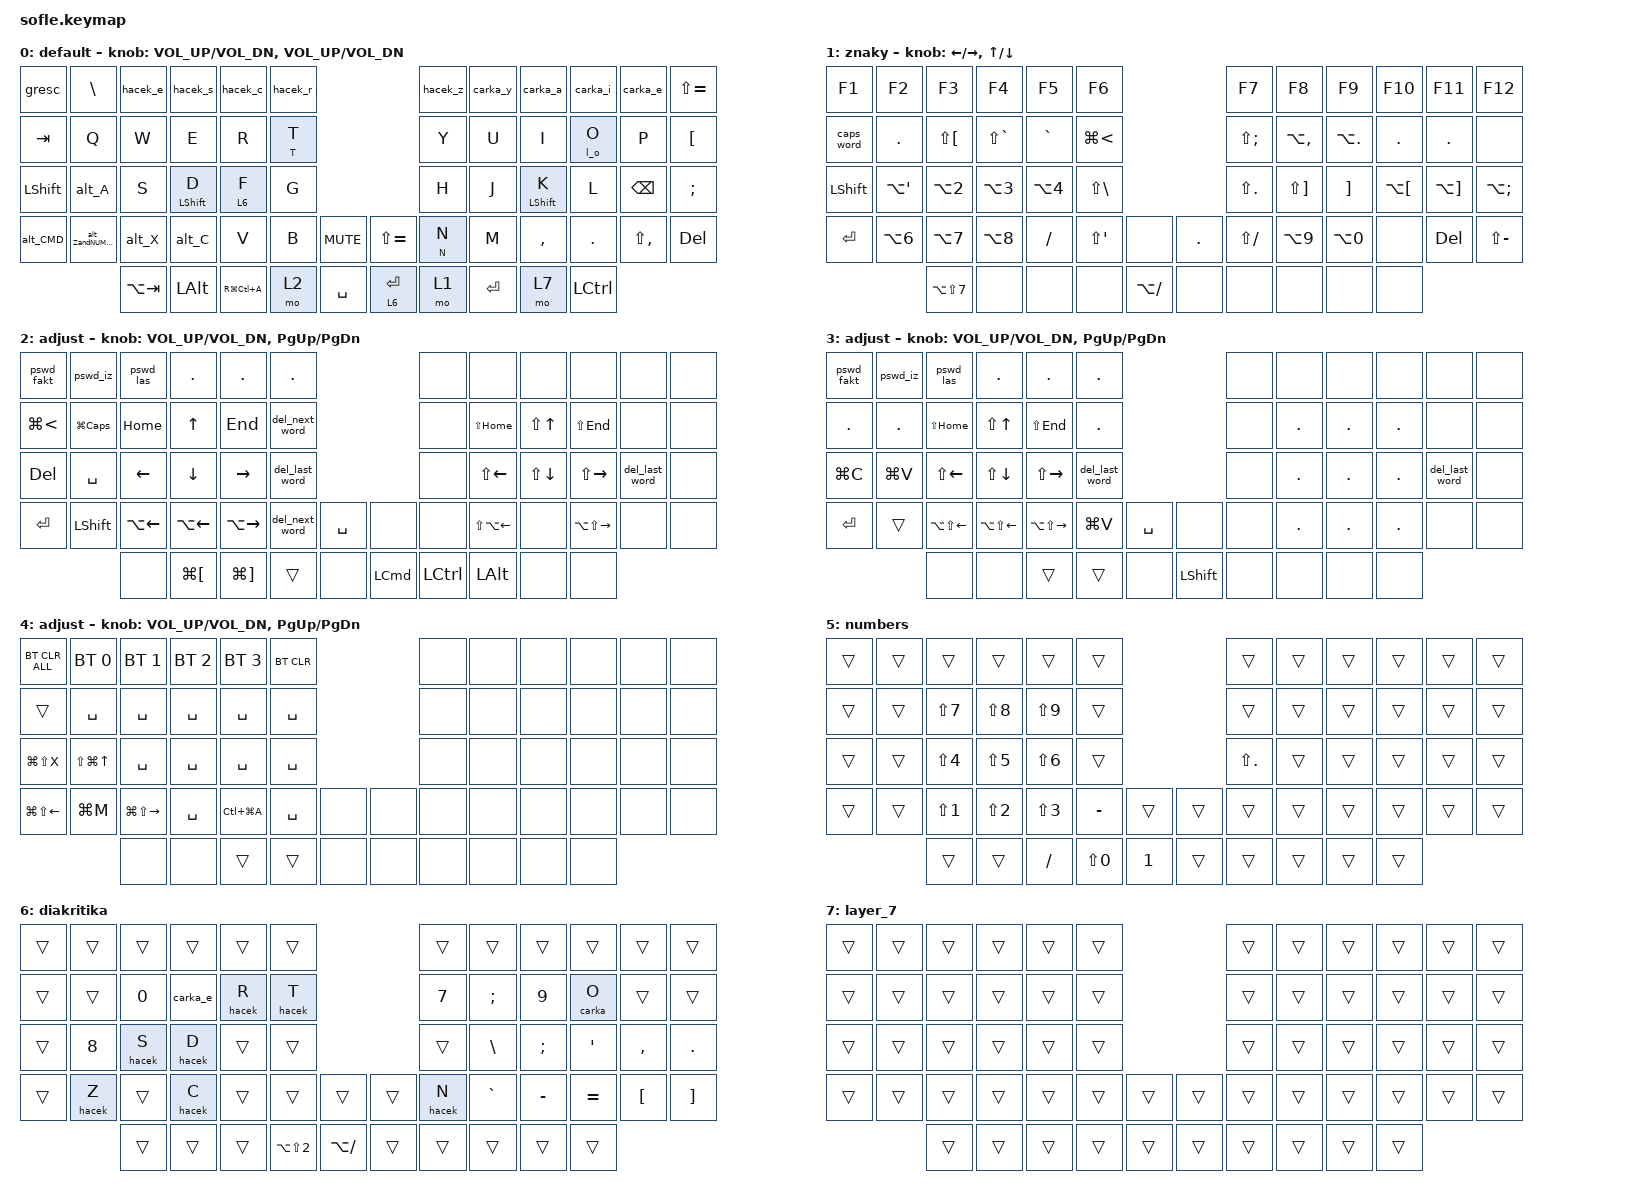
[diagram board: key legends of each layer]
/*
 * Copyright (c) 2020 The ZMK Contributors
 *
 * SPDX-License-Identifier: MIT
 */

#include <behaviors.dtsi>
#include <dt-bindings/zmk/bt.h>
#include <dt-bindings/zmk/keys.h>

/*
// Encoders

&sensors { triggers-per-rotation = <30>; };

&left_encoder { steps = <60>; };

&right_encoder { steps = <60>; };
*/

#define BASE 0
#define LOWER 1
#define RAISE 2
#define ADJUST 3
#define EXTRA 4

/ {
    conditional_layers { compatible = "zmk,conditional-layers"; };

    combos {
        compatible = "zmk,combos";

        gdoc_tab {
            bindings = <&kp LG(RIGHT_BRACKET)>;
            key-positions = <40 41>;
        };

        gdoc_backtab {
            bindings = <&kp LG(LEFT_BRACKET)>;
            key-positions = <40 39>;
        };

        shift_tab2 {
            bindings = <&kp LS(TAB)>;
            key-positions = <27 26>;
        };

        carka_a {
            bindings = <&carka_a>;
            key-positions = <25 31>;
        };

        carka_i {
            bindings = <&carka_i>;
            key-positions = <28 20>;
        };

        hacek_e {
            bindings = <&hacek_e>;
            key-positions = <15 28>;
        };

        carka_y {
            bindings = <&carka_y>;
            key-positions = <28 18>;
        };

        hacek_z {
            bindings = <&hacek_z>;
            key-positions = <31 37>;
        };

        hacek_r {
            bindings = <&hacek_r>;
            key-positions = <31 16>;
        };

        hacek_c {
            bindings = <&hacek_c>;
            key-positions = <38 31>;
        };

        hacek_s {
            bindings = <&hacek_c>;
            key-positions = <39 31>;
        };

        hacek_t {
            bindings = <&hacek T>;
            key-positions = <31 17>;
        };

        hacek_n {
            bindings = <&hacek N>;
            key-positions = <28 44>;
        };
    };

    behaviors {
        kp_kp_r: kp_kp_r {
            compatible = "zmk,behavior-hold-tap";
            label = "KP_KP_R";
            bindings = <&kp>, <&kp>;

            #binding-cells = <2>;
            tapping-term-ms = <280>;
            quick-tap-ms = <175>;
            flavor = "balanced";
            hold-trigger-key-positions = <0 1 2 3 4 5 12 13 14 15 16 17 24 25 26 27 28 29 36 37 38 39 40 41 42 50 51 52 53 54 55 56 57>;
            hold-trigger-on-release;
        };

        kp_kp_l: kp_kp_l {
            compatible = "zmk,behavior-hold-tap";
            label = "KP_KP_L";
            bindings = <&kp>, <&kp>;

            #binding-cells = <2>;
            hold-trigger-key-positions = <6 7 8 9 10 11 18 19 20 21 22 23 30 31 32 33 34 35 43 44 45 46 47 48 49 55 56 57 58 59 54 53 52>;
            tapping-term-ms = <280>;
            quick-tap-ms = <175>;
            hold-trigger-on-release;
            flavor = "balanced";
        };

        mo_kp_l: mo_kp_l {
            compatible = "zmk,behavior-hold-tap";
            label = "MO_KP_L";
            bindings = <&mo>, <&kp>;

            #binding-cells = <2>;
            hold-trigger-key-positions = <6 7 8 9 10 11 18 19 20 21 22 23 30 31 32 33 34 35 43 44 45 46 47 48 49 55 56 57 58 59 54 53 52>;
            tapping-term-ms = <200>;
            hold-trigger-on-release;
            flavor = "balanced";
        };

        for_t: for_t {
            compatible = "zmk,behavior-hold-tap";
            label = "FOR_T";
            bindings = <&hacek>, <&kp>;

            #binding-cells = <2>;
            tapping-term-ms = <400>;
            hold-trigger-on-release;
            flavor = "tap-preferred";
        };

        for_o: for_o {
            compatible = "zmk,behavior-hold-tap";
            label = "FOR_O";
            bindings = <&l_o>, <&kp>;

            #binding-cells = <2>;
            tapping-term-ms = <400>;
            hold-trigger-on-release;
            flavor = "tap-preferred";
        };

        for_n: for_n {
            compatible = "zmk,behavior-hold-tap";
            label = "FOR_N";
            bindings = <&hacek>, <&kp>;

            #binding-cells = <2>;
            tapping-term-ms = <400>;
            hold-trigger-on-release;
            flavor = "tap-preferred";
        };

        alt_ZandNUMLOCK: alt_ZandNUMLOCK {
            compatible = "zmk,behavior-mod-morph";
            label = "ALT_ZANDNUMLOCK";
            bindings = <&mo_kp_l 5 Z>, <&kp LG(M)>;

            #binding-cells = <0>;
            mods = <(MOD_LALT)>;
        };

        alt_CMD: alt_CMD {
            compatible = "zmk,behavior-mod-morph";
            label = "ALT_CMD";
            bindings = <&kp LEFT_COMMAND>, <&kp LG(LS(LEFT))>;

            #binding-cells = <0>;
            mods = <(MOD_LALT)>;
        };

        alt_X: alt_X {
            compatible = "zmk,behavior-mod-morph";
            label = "ALT_X";
            bindings = <&kp X>, <&kp LG(LS(RIGHT))>;

            #binding-cells = <0>;
            mods = <(MOD_LALT)>;
        };

        alt_C: alt_C {
            compatible = "zmk,behavior-mod-morph";
            label = "ALT_C";
            bindings = <&kp C>, <&kp LG(LS(X))>;

            #binding-cells = <0>;
            mods = <(MOD_LALT)>;
        };

        alt_A: alt_A {
            compatible = "zmk,behavior-mod-morph";
            label = "ALT_A";
            bindings = <&kp A>, <&kp LG(LS(UP_ARROW))>;

            #binding-cells = <0>;
            mods = <(MOD_LALT)>;
        };

        hacek_e: hacek_e {
            compatible = "zmk,behavior-mod-morph";
            label = "HACEK_E";
            bindings = <&kp NUMBER_2>, <&hacek E>;

            #binding-cells = <0>;
            mods = <(MOD_LSFT)>;
            keep-mods = <(MOD_LSFT)>;
        };

        hacek_s: hacek_s {
            compatible = "zmk,behavior-mod-morph";
            label = "HACEK_S";
            bindings = <&kp NUMBER_3>, <&hacek S>;

            #binding-cells = <0>;
            mods = <(MOD_LSFT)>;
            keep-mods = <(MOD_LSFT)>;
        };

        hacek_r: hacek_r {
            compatible = "zmk,behavior-mod-morph";
            label = "HACEK_R";
            bindings = <&kp N5>, <&hacek R>;

            #binding-cells = <0>;
            mods = <(MOD_LSFT)>;
            keep-mods = <(MOD_LSFT)>;
        };

        hacek_c: hacek_c {
            compatible = "zmk,behavior-mod-morph";
            label = "HACEK_C";
            bindings = <&kp NUMBER_4>, <&hacek C>;

            #binding-cells = <0>;
            mods = <(MOD_LSFT)>;
            keep-mods = <(MOD_LSFT)>;
        };

        hacek_z: hacek_z {
            compatible = "zmk,behavior-mod-morph";
            label = "HACEK_Z";
            bindings = <&kp N6>, <&hacek Z>;

            #binding-cells = <0>;
            mods = <(MOD_LSFT)>;
            keep-mods = <(MOD_LSFT)>;
        };

        carka_y: carka_y {
            compatible = "zmk,behavior-mod-morph";
            label = "CARKA_Y";
            bindings = <&kp N7>, <&carka Y>;

            #binding-cells = <0>;
            mods = <(MOD_LSFT)>;
            keep-mods = <(MOD_LSFT)>;
        };

        carka_a: carka_a {
            compatible = "zmk,behavior-mod-morph";
            label = "CARKA_A";
            bindings = <&kp N8>, <&carka A>;

            #binding-cells = <0>;
            mods = <(MOD_LSFT)>;
            keep-mods = <(MOD_LSFT)>;
        };

        carka_i: carka_i {
            compatible = "zmk,behavior-mod-morph";
            label = "CARKA_I";
            bindings = <&kp N9>, <&carka I>;

            #binding-cells = <0>;
            mods = <(MOD_LSFT)>;
            keep-mods = <(MOD_LSFT)>;
        };

        carka_e: carka_e {
            compatible = "zmk,behavior-mod-morph";
            label = "CARKA_E";
            bindings = <&kp N0>, <&carka E>;

            #binding-cells = <0>;
            mods = <(MOD_LSFT)>;
            keep-mods = <(MOD_LSFT)>;
        };
    };

    macros {
        pswd_fakt: pswd_fakt {
            compatible = "zmk,behavior-macro";
            #binding-cells = <0>;
            bindings = <&kp F &kp A &kp K &kp T &kp S &kp I &kp L &kp N &kp E &kp H &kp E &kp S &kp L &kp O &kp DOT &kp ENTER>;
            label = "PSWD_FAKT";
            wait-ms = <1>;
            tap-ms = <1>;
        };

        pswd_iz: pswd_iz {
            compatible = "zmk,behavior-macro";
            #binding-cells = <0>;
            bindings = <&kp LS(I) &kp Z &kp LS(N4) &kp LS(N8) &kp LS(DOT) &kp LS(N1) &kp LS(N8) &kp SPACE &kp LS(K) &kp D &kp Y &kp B &kp Y &kp S &kp SPACE &kp T &kp A &kp K &kp SPACE &kp V &kp E &kp N &kp O &kp V &kp A &kp L &kp RET>;
            label = "PSWD_IZ";
            wait-ms = <10>;
            tap-ms = <10>;
        };

        pswd_las: pswd_las {
            compatible = "zmk,behavior-macro";
            #binding-cells = <0>;
            bindings = <&kp LS(N3) &kp L &kp A &kp S &kp I &kp S &kp E &kp S &kp E &kp LS(F) &kp L &kp A &kp K &kp A &kp J &kp LA(N2) &kp RET>;
            label = "PSWD_LAS";
            wait-ms = <10>;
            tap-ms = <10>;
        };

        l_o: l_o {
            compatible = "zmk,behavior-macro";
            #binding-cells = <0>;
            bindings = <&kp EQUAL &kp O>;
            label = "L_O";
            wait-ms = <1>;
            tap-ms = <1>;
        };

        hacek: hacek {
            compatible = "zmk,behavior-macro-one-param";
            #binding-cells = <1>;
            bindings = <&kp LS(EQUAL) &macro_param_1to1 &kp MACRO_PLACEHOLDER>;
            label = "hacek";
            wait-ms = <1>;
            tap-ms = <1>;
        };

        del_next_word: del_last_word {
            compatible = "zmk,behavior-macro";
            #binding-cells = <0>;
            bindings = <&kp LA(LS(RIGHT)) &kp BACKSPACE>;
            label = "DEL_LAST_WORD";
        };

        carka: carka {
            compatible = "zmk,behavior-macro-one-param";
            #binding-cells = <1>;
            bindings = <&kp EQUAL &macro_param_1to1 &kp MACRO_PLACEHOLDER>;
            label = "CARKA";
            wait-ms = <1>;
            tap-ms = <1>;
        };

        del_last_word: del_next_word {
            compatible = "zmk,behavior-macro";
            #binding-cells = <0>;
            bindings = <&kp LA(LS(LEFT_ARROW)) &kp BACKSPACE>;
            label = "DEL_NEXT_WORD";
        };
    };

    keymap {
        compatible = "zmk,keymap";

        // swap C_MUTE & EQUAL for encoder on the right

        default_layer {
            display-name = "default";

            // ------------------------------------------------------------------------------------------------------------
            // |   `   |  1  |  2  |  3   |  4   |  5   |                   |  6   |  7    |  8    |  9   |   0   |       |
            // |  ESC  |  Q  |  W  |  E   |  R   |  T   |                   |  Y   |  U    |  I    |  O   |   P   | BKSPC |
            // |  TAB  |  A  |  S  |  D   |  F   |  G   |                   |  H   |  J    |  K    |  L   |   ;   |   '   |
            // | SHIFT |  Z  |  X  |  C   |  V   |  B   |  MUTE  |  |       |  N   |  M    |  ,    |  .   |   /   | SHIFT |
            //               | GUI | ALT  | CTRL | LOWER|  ENTER |  | SPACE | RAISE| CTRL  | ALT   | GUI  |

            bindings = <
&gresc     &kp BSLH          &hacek_e     &hacek_s               &hacek_c       &hacek_r                                 &hacek_z    &carka_y   &carka_a               &carka_i          &carka_e       &kp LS(EQUAL)
&kp TAB    &kp Q             &kp W        &kp E                  &kp R          &for_t T T                               &kp Y       &kp U      &kp I                  &for_o 0 O        &kp P          &kp LBKT
&kp LSHFT  &alt_A            &kp S        &kp_kp_l LEFT_SHIFT D  &lt 6 F        &kp G                                    &kp H       &kp J      &kp_kp_r LEFT_SHIFT K  &kp L             &kp BACKSPACE  &kp SEMI
&alt_CMD   &alt_ZandNUMLOCK  &alt_X       &alt_C                 &kp V          &kp B       &kp C_MUTE    &kp LS(EQUAL)  &for_n N N  &kp M      &kp COMMA              &kp DOT           &kp LS(COMMA)  &kp DELETE
                             &kp LA(TAB)  &kp LALT               &kp RG(LC(A))  &mo 2       &kp SPACE     &lt 6 ENTER    &mo 1       &kp ENTER  &mo 7                  &kp LEFT_CONTROL
            >;

            sensor-bindings = <&inc_dec_kp C_VOL_UP C_VOL_DN &inc_dec_kp C_VOL_UP C_VOL_DN>;
        };

        znaky {
            display-name = "znaky";

            // TODO: Some binds are waiting for shifted keycode support.
            // ------------------------------------------------------------------------------------------------------------
            // |       |  F1 |  F2 |  F3  |  F4  |  F5  |                   |  F6  |  F7   |  F8   |  F9  |  F10  |  F11  |
            // |   `   |  1  |  2  |  3   |  4   |  5   |                   |  6   |  7    |  8    |  9   |   0   |  F12  |
            // |       |  !  |  @  |  #   |  $   |  %   |                   |  ^   |  &    |  *    |  (   |   )   |   |   |
            // |       |  =  |  -  |  +   |  {   |  }   |        |  |       |  [   |  ]    |  ;    |  :   |   \   |       |
            //               |     |      |      |      |        |  |       |      |       |       |      |

            bindings = <
&kp F1          &kp F2        &kp F3          &kp F4         &kp F5      &kp F6                                       &kp F7          &kp F8         &kp F9       &kp F10       &kp F11       &kp F12
&caps_word      &kp DOT       &kp LS(LBKT)    &kp LS(GRAVE)  &kp GRAVE   &kp LG(LESS_THAN)                            &kp LS(SEMI)    &kp LA(COMMA)  &kp LA(DOT)  &kp PERIOD    &kp PERIOD    &none
&kp LEFT_SHIFT  &kp LA(APOS)  &kp LA(N2)      &kp LA(N3)     &kp LA(N4)  &kp LS(BACKSLASH)                            &kp LS(PERIOD)  &kp LS(RBKT)   &kp RBKT     &kp LA(LBKT)  &kp LA(RBKT)  &kp LA(SEMI)
&kp ENTER       &kp LA(N6)    &kp LA(N7)      &kp LA(N8)     &kp FSLH    &kp LS(APOS)       &none            &kp DOT  &kp LS(FSLH)    &kp LA(N9)     &kp LA(N0)   &none         &kp DEL       &kp LS(MINUS)
                              &kp LA(LS(N7))  &none          &none       &none              &kp LA(SLASH)    &none    &none           &none          &none        &none
            >;

            sensor-bindings =
                <&inc_dec_kp LEFT_ARROW RIGHT_ARROW>,
                <&inc_dec_kp UP_ARROW DOWN_ARROW>;
        };

        sipky {
            display-name = "adjust";
            bindings = <
&pswd_fakt         &pswd_iz          &pswd_las     &kp DOT       &kp DOT        &kp DOT                                        &none             &none             &none         &none              &none           &none
&kp LG(LESS_THAN)  &kp LG(CAPSLOCK)  &kp HOME      &kp UP        &kp END        &del_next_word                                 &none             &kp LS(HOME)      &kp LS(UP)    &kp LS(END)        &none           &none
&kp DEL            &kp SPACE         &kp LEFT      &kp DOWN      &kp RIGHT      &del_last_word                                 &none             &kp LS(LEFT)      &kp LS(DOWN)  &kp LS(RIGHT)      &del_last_word  &none
&kp ENTER          &kp LEFT_SHIFT    &kp LA(LEFT)  &kp LA(LEFT)  &kp LA(RIGHT)  &del_next_word  &kp SPACE    &none             &none             &kp LS(LA(LEFT))  &none         &kp LA(LS(RIGHT))  &none           &none
                                     &none         &kp LG(LBKT)  &kp LG(RBKT)   &trans          &none        &kp LEFT_COMMAND  &kp LEFT_CONTROL  &kp LEFT_ALT      &none         &none
            >;

            sensor-bindings =
                <&inc_dec_kp C_VOL_UP C_VOL_DN>,
                <&inc_dec_kp PG_UP PG_DN>;
        };

        sipky_shift {
            display-name = "adjust";
            bindings = <
&pswd_fakt  &pswd_iz   &pswd_las         &kp DOT           &kp DOT            &kp DOT                                      &none  &none    &none    &none    &none           &none
&kp DOT     &kp DOT    &kp LS(HOME)      &kp LS(UP)        &kp LS(END)        &kp DOT                                      &none  &kp DOT  &kp DOT  &kp DOT  &none           &none
&kp LG(C)   &kp LG(V)  &kp LS(LEFT)      &kp LS(DOWN)      &kp LS(RIGHT)      &del_last_word                               &none  &kp DOT  &kp DOT  &kp DOT  &del_last_word  &none
&kp ENTER   &trans     &kp LA(LS(LEFT))  &kp LA(LS(LEFT))  &kp LA(LS(RIGHT))  &kp LG(V)       &kp SPACE    &none           &none  &kp DOT  &kp DOT  &kp DOT  &none           &none
                       &none             &none             &trans             &trans          &none        &kp LEFT_SHIFT  &none  &none    &none    &none
            >;

            sensor-bindings =
                <&inc_dec_kp C_VOL_UP C_VOL_DN>,
                <&inc_dec_kp PG_UP PG_DN>;
        };

        okna {
            // ----------------------------------------------------------------------------------------------------------------------------
            // | BTCLR  |  BT1    |  BT2    |   BT3   |   BT4   |   BT5   |                  |      |      |       |      |       |       |
            // | EXTPWR | RGB_HUD | RGB_HUI | RGB_SAD | RGB_SAI | RGB_EFF |                  |      |      |       |      |       |       |
            // |        | RGB_BRD | RGB_BRI |         |         |         |                  |      |      |       |      |       |       |
            // |        |         |         |         |         |         | RGB_TOG | |      |      |      |       |      |       |       |
            //                    |         |         |         |         |         | |      |      |      |       |      |

            display-name = "adjust";
            bindings = <
&bt BT_CLR_ALL    &bt BT_SEL 0    &bt BT_SEL 1       &bt BT_SEL 2  &bt BT_SEL 3   &bt BT_CLR                  &none  &none  &none  &none  &none  &none
&trans            &kp SPACE       &kp SPACE          &kp SPACE     &kp SPACE      &kp SPACE                   &none  &none  &none  &none  &none  &none
&kp LG(LS(X))     &kp LS(LG(UP))  &kp SPACE          &kp SPACE     &kp SPACE      &kp SPACE                   &none  &none  &none  &none  &none  &none
&kp LG(LS(LEFT))  &kp LG(M)       &kp LG(LS(RIGHT))  &kp SPACE     &kp LC(LG(A))  &kp SPACE   &none    &none  &none  &none  &none  &none  &none  &none
                                  &none              &none         &trans         &trans      &none    &none  &none  &none  &none  &none
            >;

            sensor-bindings = <&inc_dec_kp C_VOL_UP C_VOL_DN &inc_dec_kp PG_UP PG_DN>;
        };

        numbers {
            bindings = <
&trans  &trans  &trans      &trans      &trans      &trans                                    &trans       &trans  &trans  &trans  &trans  &trans
&trans  &trans  &kp LS(N7)  &kp LS(N8)  &kp LS(N9)  &trans                                    &trans       &trans  &trans  &trans  &trans  &trans
&trans  &trans  &kp LS(N4)  &kp LS(N5)  &kp LS(N6)  &trans                                    &kp LS(DOT)  &trans  &trans  &trans  &trans  &trans
&trans  &trans  &kp LS(N1)  &kp LS(N2)  &kp LS(N3)  &kp MINUS         &trans          &trans  &trans       &trans  &trans  &trans  &trans  &trans
                &trans      &trans      &kp FSLH    &kp LS(NUMBER_0)  &kp NUMBER_1    &trans  &trans       &trans  &trans  &trans
            >;
        };

        diakritika {
            bindings = <
&trans  &trans    &trans    &trans    &trans    &trans                                         &trans    &trans     &trans        &trans     &trans     &trans
&trans  &trans    &kp N0    &carka_e  &hacek R  &hacek T                                       &kp N7    &kp SEMI   &kp NUMBER_9  &carka O   &trans     &trans
&trans  &kp N8    &hacek S  &hacek D  &trans    &trans                                         &trans    &kp BSLH   &kp SEMI      &kp APOS   &kp COMMA  &kp DOT
&trans  &hacek Z  &trans    &hacek C  &trans    &trans                &trans           &trans  &hacek N  &kp GRAVE  &kp MINUS     &kp EQUAL  &kp LBKT   &kp RBKT
                  &trans    &trans    &trans    &kp LA(LS(NUMBER_2))  &kp LA(SLASH)    &trans  &trans    &trans     &trans        &trans
            >;
        };

        layer_7 {
            bindings = <
&trans  &trans  &trans  &trans  &trans  &trans                    &trans  &trans  &trans  &trans  &trans  &trans
&trans  &trans  &trans  &trans  &trans  &trans                    &trans  &trans  &trans  &trans  &trans  &trans
&trans  &trans  &trans  &trans  &trans  &trans                    &trans  &trans  &trans  &trans  &trans  &trans
&trans  &trans  &trans  &trans  &trans  &trans  &trans    &trans  &trans  &trans  &trans  &trans  &trans  &trans
                &trans  &trans  &trans  &trans  &trans    &trans  &trans  &trans  &trans  &trans
            >;
        };
    };
};
